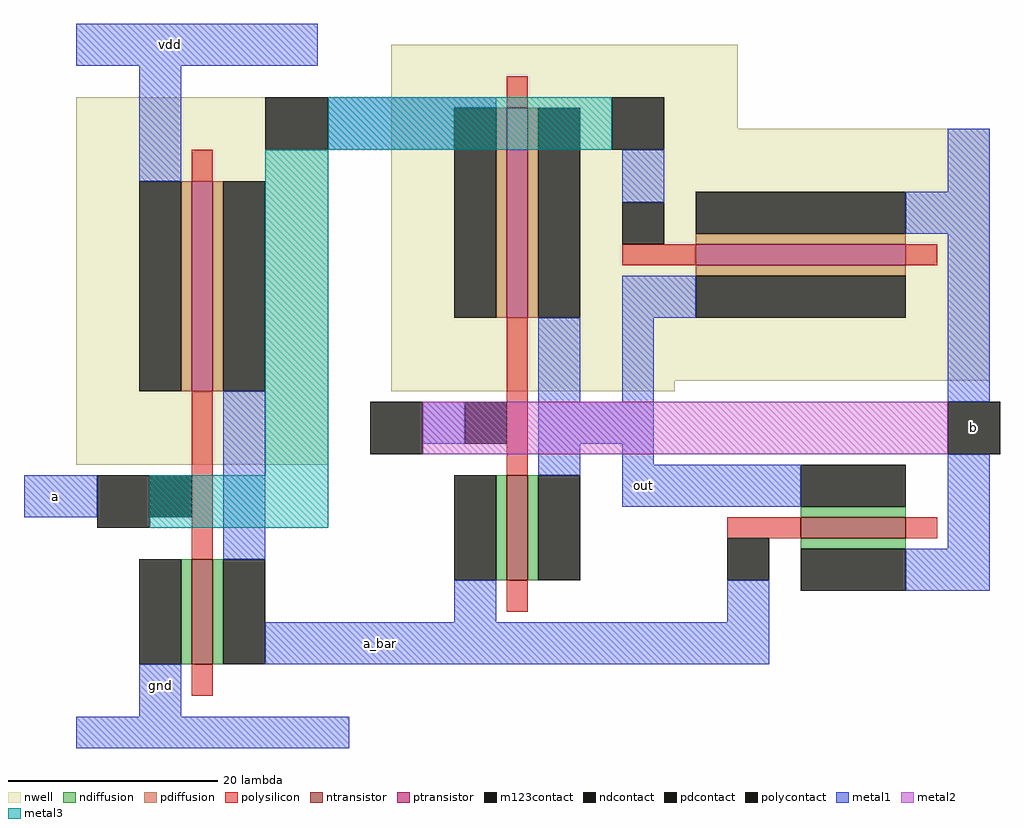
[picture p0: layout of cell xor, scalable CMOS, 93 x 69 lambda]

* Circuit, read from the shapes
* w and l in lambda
.subckt xor a a_bar b gnd out vdd
M1 a_bar a gnd VSUBS nfet w=10 l=2
M2 out b a_bar VSUBS nfet w=10 l=2
M3 out a_bar b VSUBS nfet w=10 l=2
M4 a_bar a vdd n1 pfet w=20 l=2
M5 out b a n2 pfet w=20 l=2
M6 b a out n2 pfet w=20 l=2
.ends

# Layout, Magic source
magic
tech scmos
<< nwell >>
rect 93 -6 117 29
rect 123 26 156 34
rect 123 2 180 26
rect 123 1 150 2
<< ntransistor >>
rect 104 -25 106 -15
rect 134 -17 136 -7
rect 162 -13 172 -11
<< ptransistor >>
rect 104 1 106 21
rect 134 8 136 28
rect 152 13 172 15
<< ndiffusion >>
rect 103 -25 104 -15
rect 106 -25 107 -15
rect 133 -17 134 -7
rect 136 -17 137 -7
rect 162 -11 172 -10
rect 162 -14 172 -13
<< pdiffusion >>
rect 103 1 104 21
rect 106 1 107 21
rect 133 8 134 28
rect 136 8 137 28
rect 152 15 172 16
rect 152 12 172 13
<< ndcontact >>
rect 99 -25 103 -15
rect 107 -25 111 -15
rect 129 -17 133 -7
rect 137 -17 141 -7
rect 162 -10 172 -6
rect 162 -18 172 -14
<< pdcontact >>
rect 99 1 103 21
rect 107 1 111 21
rect 129 8 133 28
rect 137 8 141 28
rect 152 16 172 20
rect 152 8 172 12
<< polysilicon >>
rect 134 28 136 31
rect 104 21 106 24
rect 145 13 152 15
rect 172 13 175 15
rect 104 -15 106 1
rect 134 -7 136 8
rect 155 -13 162 -11
rect 172 -13 175 -11
rect 134 -20 136 -17
rect 104 -28 106 -25
<< polycontact >>
rect 145 15 149 19
rect 100 -11 104 -7
rect 130 -4 134 0
rect 155 -17 159 -13
<< metal1 >>
rect 93 32 116 36
rect 99 21 103 32
rect 117 28 133 29
rect 117 24 129 28
rect 145 19 149 24
rect 176 20 180 26
rect 172 16 180 20
rect 88 -11 95 -7
rect 107 -15 111 1
rect 137 0 141 8
rect 145 8 152 12
rect 145 0 148 8
rect 126 -4 130 0
rect 137 -4 148 0
rect 137 -7 141 -4
rect 145 -6 148 -4
rect 176 0 180 16
rect 145 -10 162 -6
rect 176 -14 180 -5
rect 129 -21 133 -17
rect 155 -21 159 -17
rect 172 -18 180 -14
rect 111 -25 159 -21
rect 99 -30 103 -25
rect 93 -33 119 -30
<< metal2 >>
rect 126 -5 176 0
<< m123contact >>
rect 111 24 117 29
rect 144 24 149 29
rect 121 -5 126 0
rect 176 -5 181 0
rect 95 -12 100 -7
<< metal3 >>
rect 117 24 144 29
rect 111 -7 117 24
rect 100 -12 117 -7
<< labels >>
rlabel metal1 117 -25 127 -21 1 a_bar
rlabel metal1 99 -29 103 -25 1 gnd
rlabel metal1 91 -9 91 -9 3 a
rlabel metal1 145 -10 149 -6 1 out
rlabel m123contact 176 -5 181 0 7 b
rlabel metal1 102 34 102 34 5 vdd
<< end >>
